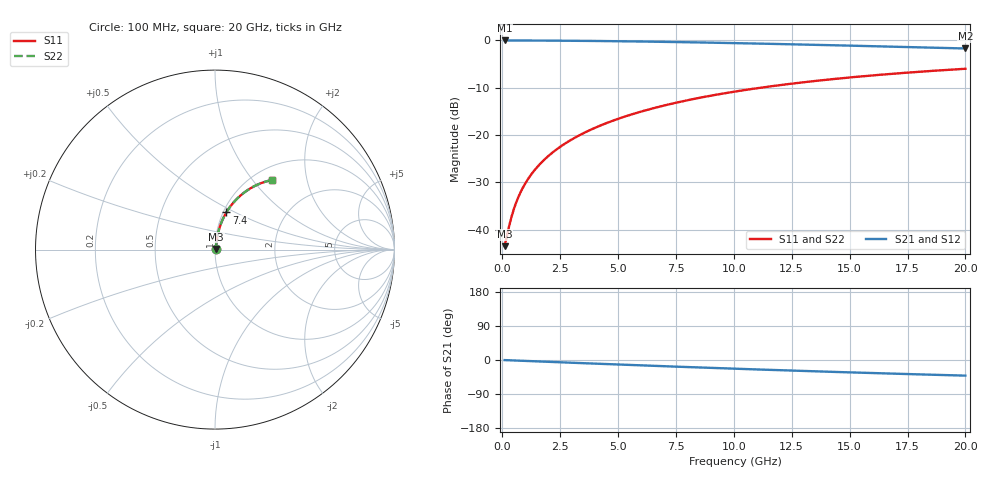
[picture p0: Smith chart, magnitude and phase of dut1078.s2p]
! Touchstone file exported from HFSS 2024.1.0
!  File:  C:/UserFiles/LocalFiles/RDL_TSV_Batchsim/temp_RDL_bottom_1078_1780053084.aedt
!  Generated:  07:14:02 PM May 29, 2026
!  Design:  RDL_bottom
!  Project:  temp_RDL_bottom_1078_1780053084
!  Setup:  Setup1
!  Solution:  Sweep
! Variables:
!  dtsv = 10.80580581um
!  hbump = 3um
!  htsv = 96.72um
!  ldown = 469.36um
!  lrdl = 100um
!  p = 40
!  p1 = 56.93um
!  rhole = 1um
!  t = 450um
!  tdown = 2.54um
!  trdl = 3.915915916um
!  wdown = 11.13um
!  wrdl = 20um
# GHz S MA R 50.000000
! Terminal data exported
! Port[1] = RDL1_T1
! Port[2] = RDL1_T2
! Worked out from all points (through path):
!   200 points, 100 MHz to 20 GHz, reference 50 ohm
!   highest |S21| = -0.05 dB at 100 MHz (marker M1); lowest = -1.7 dB at 20 GHz (marker M2)
!   group delay of S21, straight-line fit = 5.74 ps
!   lowest |S11| = -43.5 dB at 100 MHz (marker M3), VSWR 1.01, Z = 50.6 + j0.311 ohm
!   |S11| at or under -10 dB: start of sweep to 11.19 GHz
!   |S22| runs from -43.5 to -6.0 dB; largest |S21 - S12| = 2.7e-15
!   S11 on the Smith chart (normalised r, x): 100 MHz: 1.01, +0.01; 7.4 GHz: 1.04, +0.45; 20 GHz: 1.21, +1.25
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0.1  0.006714 27.2  0.994 -0.2  0.994 -0.2  0.006714 27.2
! Gamma 0 0 0 0
! Port Impedance 50 0 50 0
0.3  0.01105 56.2  0.9939 -0.7  0.9939 -0.7  0.01105 56.2
0.4  0.01374 62.8  0.9938 -1.0  0.9938 -1.0  0.01374 62.8
0.5  0.01655 67.1  0.9936 -1.2  0.9936 -1.2  0.01655 67.1
0.6  0.01941 70.0  0.9935 -1.5  0.9935 -1.5  0.01941 70.0
0.7  0.0223 72.1  0.9933 -1.7  0.9933 -1.7  0.0223 72.1
0.9  0.02812 74.9  0.9929 -2.2  0.9929 -2.2  0.02812 74.9
1.2  0.03688 77.2  0.9923 -2.9  0.9923 -2.9  0.03688 77.2
1.4  0.04274 78.1  0.9919 -3.4  0.9919 -3.4  0.04274 78.1
1.7  0.05153 79.0  0.9911 -4.1  0.9911 -4.1  0.05153 79.0
2.2  0.0662 79.6  0.9896 -5.3  0.9896 -5.3  0.0662 79.6
2.8  0.08383 79.6  0.9875 -6.7  0.9875 -6.7  0.08383 79.6
3.5  0.1044 79.1  0.9844 -8.4  0.9844 -8.4  0.1044 79.1
4.2  0.1248 78.3  0.9807 -10.0  0.9807 -10.0  0.1248 78.3
5  0.148 77.1  0.9758 -11.9  0.9758 -11.9  0.148 77.1
6.8  0.1994 74.1  0.9625 -16.0  0.9625 -16.0  0.1994 74.1
7.4  0.2161 73.1  0.9574 -17.3  0.9574 -17.3  0.2161 73.1
8.7  0.2517 70.7  0.9455 -20.1  0.9455 -20.1  0.2517 70.7
10.1  0.2886 68.1  0.9316 -23.1  0.9316 -23.1  0.2886 68.1
13.4  0.369 62.0  0.8953 -29.7  0.8953 -29.7  0.369 62.0
16.7  0.4394 56.2  0.8567 -35.7  0.8567 -35.7  0.4394 56.2
20  0.4997 50.9  0.8178 -41.2  0.8178 -41.2  0.4997 50.9
